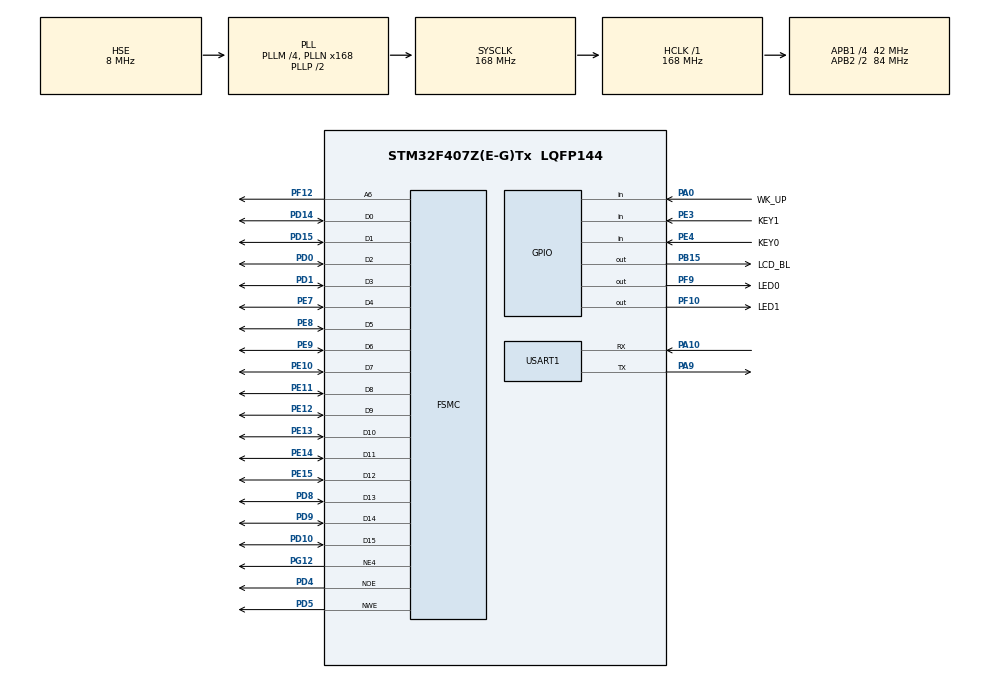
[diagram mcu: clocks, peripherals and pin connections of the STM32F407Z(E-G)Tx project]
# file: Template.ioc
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Mcu.Family=STM32F4
Mcu.Name=STM32F407Z(E-G)Tx
Mcu.Package=LQFP144
NVIC.PriorityGroup=NVIC_PRIORITYGROUP_4
NVIC.USART1_IRQn=true\:1\:0\:true\:false\:true\:true\:false\:true
PA0-WKUP.GPIO_Label=WK_UP
PA0-WKUP.GPIO_PuPd=GPIO_PULLDOWN
PA0-WKUP.Signal=GPIO_Input
PA10.Mode=Asynchronous
PA10.Signal=USART1_RX
PA13.Mode=Serial_Wire
PA13.Signal=SYS_JTMS-SWDIO
PA14.Mode=Serial_Wire
PA14.Signal=SYS_JTCK-SWCLK
PA9.Mode=Asynchronous
PA9.Signal=USART1_TX
PB15.GPIO_Label=LCD_BL
PB15.Signal=GPIO_Output
PD0.Signal=FSMC_D2_DA2
PD1.Signal=FSMC_D3_DA3
PD10.Signal=FSMC_D15_DA15
PD14.Signal=FSMC_D0_DA0
PD15.Signal=FSMC_D1_DA1
PD4.Signal=FSMC_NOE
PD5.Signal=FSMC_NWE
PD8.Signal=FSMC_D13_DA13
PD9.Signal=FSMC_D14_DA14
PE10.Signal=FSMC_D7_DA7
PE11.Signal=FSMC_D8_DA8
PE12.Signal=FSMC_D9_DA9
PE13.Signal=FSMC_D10_DA10
PE14.Signal=FSMC_D11_DA11
PE15.Signal=FSMC_D12_DA12
PE3.GPIO_Label=KEY1
PE3.GPIO_PuPd=GPIO_PULLUP
PE3.Signal=GPIO_Input
PE4.GPIO_Label=KEY0
PE4.GPIO_PuPd=GPIO_PULLUP
PE4.Signal=GPIO_Input
PE7.Signal=FSMC_D4_DA4
PE8.Signal=FSMC_D5_DA5
PE9.Signal=FSMC_D6_DA6
PF10.GPIO_Label=LED1
PF10.GPIO_PuPd=GPIO_NOPULL
PF10.PinState=GPIO_PIN_SET
PF10.Signal=GPIO_Output
PF12.Signal=FSMC_A6
PF9.GPIO_Label=LED0
PF9.GPIO_PuPd=GPIO_NOPULL
PF9.PinState=GPIO_PIN_SET
PF9.Signal=GPIO_Output
PG12.Mode=NorPsramChipSelect4_1
PG12.Signal=FSMC_NE4
PH0-OSC_IN.Mode=HSE-External-Oscillator
PH0-OSC_IN.Signal=RCC_OSC_IN
PH1-OSC_OUT.Mode=HSE-External-Oscillator
PH1-OSC_OUT.Signal=RCC_OSC_OUT
ProjectManager.HeapSize=0x200
ProjectManager.StackSize=0x400
ProjectManager.TargetToolchain=MDK-ARM V5.32
RCC.48MHZClocksFreq_Value=84000000
RCC.AHBFreq_Value=168000000
RCC.APB1CLKDivider=RCC_HCLK_DIV4
RCC.APB1Freq_Value=42000000
RCC.APB1TimFreq_Value=84000000
RCC.APB2CLKDivider=RCC_HCLK_DIV2
RCC.APB2Freq_Value=84000000
RCC.APB2TimFreq_Value=168000000
RCC.CortexFreq_Value=168000000
RCC.HCLKFreq_Value=168000000
RCC.HSE_VALUE=8000000
RCC.HSI_VALUE=16000000
RCC.LSE_VALUE=32768
RCC.PLLM=4
RCC.PLLN=168
RCC.PLLSourceVirtual=RCC_PLLSOURCE_HSE
RCC.SYSCLKFreq_VALUE=168000000
RCC.SYSCLKSource=RCC_SYSCLKSOURCE_PLLCLK
RCC.VCOOutputFreq_Value=336000000
SH.FSMC_A6.0=FSMC_A6,A6_1
SH.FSMC_D0_DA0.0=FSMC_D0,16b-d1
SH.FSMC_D10_DA10.0=FSMC_D10,16b-d1
SH.FSMC_D11_DA11.0=FSMC_D11,16b-d1
SH.FSMC_D12_DA12.0=FSMC_D12,16b-d1
SH.FSMC_D13_DA13.0=FSMC_D13,16b-d1
SH.FSMC_D14_DA14.0=FSMC_D14,16b-d1
SH.FSMC_D15_DA15.0=FSMC_D15,16b-d1
SH.FSMC_D1_DA1.0=FSMC_D1,16b-d1
SH.FSMC_D2_DA2.0=FSMC_D2,16b-d1
SH.FSMC_D3_DA3.0=FSMC_D3,16b-d1
SH.FSMC_D4_DA4.0=FSMC_D4,16b-d1
SH.FSMC_D5_DA5.0=FSMC_D5,16b-d1
SH.FSMC_D6_DA6.0=FSMC_D6,16b-d1
SH.FSMC_D7_DA7.0=FSMC_D7,16b-d1
SH.FSMC_D8_DA8.0=FSMC_D8,16b-d1
SH.FSMC_D9_DA9.0=FSMC_D9,16b-d1
SH.FSMC_NOE.0=FSMC_NOE,Lcd1
SH.FSMC_NWE.0=FSMC_NWE,Lcd1
USART1.VirtualMode=VM_ASYNC
board=custom

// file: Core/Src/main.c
/* USER CODE BEGIN Header */
/**
  ******************************************************************************
  * @file           : main.c
  * @brief          : Main program body
  ******************************************************************************
  * @attention
  *
  * Copyright (c) 2025 STMicroelectronics.
  * All rights reserved.
  *
  * This software is licensed under terms that can be found in the LICENSE file
  * in the root directory of this software component.
  * If no LICENSE file comes with this software, it is provided AS-IS.
  *
  ******************************************************************************
  */
/* USER CODE END Header */
#include "main.h"

/* USER CODE BEGIN Includes */
#include "drv_LCD.h"
#include "bsp_key.h"
#include "bsp_uart.h"
#include "iap.h"
/* USER CODE END Includes */

UART_HandleTypeDef huart1;

SRAM_HandleTypeDef hsram1;

void SystemClock_Config(void);
static void MX_GPIO_Init(void);
static void MX_FSMC_Init(void);
static void MX_USART1_UART_Init(void);

int main(void)
{

  /* USER CODE BEGIN 1 */
	uint8_t t;
	uint8_t clearflag=0;
	uint8_t key;
	uint16_t oldcount=0;				    //老的串口接收数据值
	uint32_t applenth=0;				    //接收到的app代码长度
  /* USER CODE END 1 */

  /* MCU Configuration--------------------------------------------------------*/

  /* Reset of all peripherals, Initializes the Flash interface and the Systick. */
  HAL_Init();

  /* Configure the system clock */
  SystemClock_Config();

  /* Initialize all configured peripherals */
  MX_GPIO_Init();
  MX_FSMC_Init();
  MX_USART1_UART_Init();
  /* USER CODE BEGIN 2 */
	bsp_systick_init(168);
	bsp_uart1_init();
	drv_LCD_Init();
	LCD_Clear(WHITE);
	POINT_COLOR=RED;//设置字体为红色
	LCD_ShowString(30,50,200,16,16,"Explorer STM32F4");
	LCD_ShowString(30,70,200,16,16,"IAP TEST");
	LCD_ShowString(30,90,200,16,16,"ATOM@ALIENTEK");
	LCD_ShowString(30,110,200,16,16,"2017/5/8");
	LCD_ShowString(30,130,200,16,16,"KEY_UP:Copy APP2FLASH");
	LCD_ShowString(30,150,200,16,16,"KEY1:Erase SRAM APP");
	LCD_ShowString(30,170,200,16,16,"KEY0:Run SRAM APP");
	LCD_ShowString(30,190,200,16,16,"KEY2:Run FLASH APP");
	POINT_COLOR=BLUE;//设置字体为蓝色
  /* USER CODE END 2 */

  /* Infinite loop */
  /* USER CODE BEGIN WHILE */
  while (1)
  {
		if(USART_RX_CNT){
			if(oldcount==USART_RX_CNT)//新周期内,没有收到任何数据,认为本次数据接收完成.
			{
				applenth=USART_RX_CNT;
				oldcount=0;
				USART_RX_CNT=0;
				printf("用户程序接收完成!\r\n");
				printf("代码长度:%dBytes\r\n",applenth);
			}else oldcount=USART_RX_CNT;
		}
		t++;
		delay_ms(10);
		if(t==30){
			LED1(2);
			t=0;
			if(clearflag)
			{
				clearflag--;
				if(clearflag==0)LCD_Fill(30,210,240,210+16,WHITE);//清除显示
			}
		}
		key=Key_Scan(0);
		if(key==WKUP_PRES)	//WK_UP按键按下
		{
			if(applenth)
			{
				printf("开始更新固件...\r\n");
				LCD_ShowString(30,210,200,16,16,"Copying APP2FLASH...");
				if(((*(vu32*)(0X20001000+4))&0xFF000000)==0x08000000)//判断串口接受缓存区是否为0X08XXXXXX.
				{
					iap_write_appbin(FLASH_APP1_ADDR,USART_RX_BUF,applenth);//更新FLASH代码，将串口缓存处的代码复制到FLASH处
					LCD_ShowString(30,210,200,16,16,"Copy APP Successed!!");
					printf("固件更新完成!\r\n");
				}else
				{
					LCD_ShowString(30,210,200,16,16,"Illegal FLASH APP!  ");
					printf("非FLASH应用程序!\r\n");
				}
			}else
			{
				printf("没有可以更新的固件!\r\n");
				LCD_ShowString(30,210,200,16,16,"No APP!");
			}
			clearflag=7;//标志更新了显示,并且设置7*300ms后清除显示
		}
		if(key==KEY0_PRES)	//KEY1按下
		{
			if(applenth)
			{
				printf("固件清除完成!\r\n");
				LCD_ShowString(30,210,200,16,16,"APP Erase Successed!");
				applenth=0;
			}else
			{
				printf("没有可以清除的固件!\r\n");
				LCD_ShowString(30,210,200,16,16,"No APP Clear!");
			}
			clearflag=7;//标志更新了显示,并且设置7*300ms后清除显示
		}
		if(key==KEY1_PRES)	//KEY2按下
		{
			printf("开始执行FLASH用户代码!!\r\n");
			if(((*(vu32*)(FLASH_APP1_ADDR+4))&0xFF000000)==0x08000000)//判断是否为0X08XXXXXX.
			{
				iap_load_app(FLASH_APP1_ADDR);//执行FLASH APP代码
			}else
			{
				printf("非FLASH应用程序,无法执行!\r\n");
				LCD_ShowString(30,210,200,16,16,"Illegal FLASH APP!");
			}
			clearflag=7;//标志更新了显示,并且设置7*300ms后清除显示
		}
    /* USER CODE END WHILE */

  }
}

void SystemClock_Config(void)
{
  RCC_OscInitTypeDef RCC_OscInitStruct = {0};
  RCC_ClkInitTypeDef RCC_ClkInitStruct = {0};

  /** Configure the main internal regulator output voltage
  */
  __HAL_RCC_PWR_CLK_ENABLE();
  __HAL_PWR_VOLTAGESCALING_CONFIG(PWR_REGULATOR_VOLTAGE_SCALE1);

  /** Initializes the RCC Oscillators according to the specified parameters
  * in the RCC_OscInitTypeDef structure.
  */
  RCC_OscInitStruct.OscillatorType = RCC_OSCILLATORTYPE_HSE;
  RCC_OscInitStruct.HSEState = RCC_HSE_ON;
  RCC_OscInitStruct.PLL.PLLState = RCC_PLL_ON;
  RCC_OscInitStruct.PLL.PLLSource = RCC_PLLSOURCE_HSE;
  RCC_OscInitStruct.PLL.PLLM = 4;
  RCC_OscInitStruct.PLL.PLLN = 168;
  RCC_OscInitStruct.PLL.PLLP = RCC_PLLP_DIV2;
  RCC_OscInitStruct.PLL.PLLQ = 4;
  if (HAL_RCC_OscConfig(&RCC_OscInitStruct) != HAL_OK)
  {
    Error_Handler();
  }

  /** Initializes the CPU, AHB and APB buses clocks
  */
  RCC_ClkInitStruct.ClockType = RCC_CLOCKTYPE_HCLK|RCC_CLOCKTYPE_SYSCLK
                              |RCC_CLOCKTYPE_PCLK1|RCC_CLOCKTYPE_PCLK2;
  RCC_ClkInitStruct.SYSCLKSource = RCC_SYSCLKSOURCE_PLLCLK;
  RCC_ClkInitStruct.AHBCLKDivider = RCC_SYSCLK_DIV1;
  RCC_ClkInitStruct.APB1CLKDivider = RCC_HCLK_DIV4;
  RCC_ClkInitStruct.APB2CLKDivider = RCC_HCLK_DIV2;

  if (HAL_RCC_ClockConfig(&RCC_ClkInitStruct, FLASH_LATENCY_5) != HAL_OK)
  {
    Error_Handler();
  }
}

static void MX_USART1_UART_Init(void)
{

  huart1.Instance = USART1;
  huart1.Init.BaudRate = 115200;
  huart1.Init.WordLength = UART_WORDLENGTH_8B;
  huart1.Init.StopBits = UART_STOPBITS_1;
  huart1.Init.Parity = UART_PARITY_NONE;
  huart1.Init.Mode = UART_MODE_TX_RX;
  huart1.Init.HwFlowCtl = UART_HWCONTROL_NONE;
  huart1.Init.OverSampling = UART_OVERSAMPLING_16;
  if (HAL_UART_Init(&huart1) != HAL_OK)
  {
    Error_Handler();
  }

}

static void MX_GPIO_Init(void)
{
  GPIO_InitTypeDef GPIO_InitStruct = {0};

  /* GPIO Ports Clock Enable */
  __HAL_RCC_GPIOE_CLK_ENABLE();
  __HAL_RCC_GPIOF_CLK_ENABLE();
  __HAL_RCC_GPIOH_CLK_ENABLE();
  __HAL_RCC_GPIOA_CLK_ENABLE();
  __HAL_RCC_GPIOB_CLK_ENABLE();
  __HAL_RCC_GPIOD_CLK_ENABLE();
  __HAL_RCC_GPIOG_CLK_ENABLE();

  /*Configure GPIO pin Output Level */
  HAL_GPIO_WritePin(GPIOF, LED0_Pin|LED1_Pin, GPIO_PIN_SET);

  /*Configure GPIO pin Output Level */
  HAL_GPIO_WritePin(LCD_BL_GPIO_Port, LCD_BL_Pin, GPIO_PIN_RESET);

  /*Configure GPIO pins : KEY1_Pin KEY0_Pin */
  GPIO_InitStruct.Pin = KEY1_Pin|KEY0_Pin;
  GPIO_InitStruct.Mode = GPIO_MODE_INPUT;
  GPIO_InitStruct.Pull = GPIO_PULLUP;
  HAL_GPIO_Init(GPIOE, &GPIO_InitStruct);

  /*Configure GPIO pins : LED0_Pin LED1_Pin */
  GPIO_InitStruct.Pin = LED0_Pin|LED1_Pin;
  GPIO_InitStruct.Mode = GPIO_MODE_OUTPUT_PP;
  GPIO_InitStruct.Pull = GPIO_NOPULL;
  GPIO_InitStruct.Speed = GPIO_SPEED_FREQ_LOW;
  HAL_GPIO_Init(GPIOF, &GPIO_InitStruct);

  /*Configure GPIO pin : WK_UP_Pin */
  GPIO_InitStruct.Pin = WK_UP_Pin;
  GPIO_InitStruct.Mode = GPIO_MODE_INPUT;
  GPIO_InitStruct.Pull = GPIO_PULLDOWN;
  HAL_GPIO_Init(WK_UP_GPIO_Port, &GPIO_InitStruct);

  /*Configure GPIO pin : LCD_BL_Pin */
  GPIO_InitStruct.Pin = LCD_BL_Pin;
  GPIO_InitStruct.Mode = GPIO_MODE_OUTPUT_PP;
  GPIO_InitStruct.Pull = GPIO_NOPULL;
  GPIO_InitStruct.Speed = GPIO_SPEED_FREQ_LOW;
  HAL_GPIO_Init(LCD_BL_GPIO_Port, &GPIO_InitStruct);

}

/* FSMC initialization function */
static void MX_FSMC_Init(void)
{

  FSMC_NORSRAM_TimingTypeDef Timing = {0};

  /** Perform the SRAM1 memory initialization sequence
  */
  hsram1.Instance = FSMC_NORSRAM_DEVICE;
  hsram1.Extended = FSMC_NORSRAM_EXTENDED_DEVICE;
  /* hsram1.Init */
  hsram1.Init.NSBank = FSMC_NORSRAM_BANK4;
  hsram1.Init.DataAddressMux = FSMC_DATA_ADDRESS_MUX_DISABLE;
  hsram1.Init.MemoryType = FSMC_MEMORY_TYPE_SRAM;
  hsram1.Init.MemoryDataWidth = FSMC_NORSRAM_MEM_BUS_WIDTH_16;
  hsram1.Init.BurstAccessMode = FSMC_BURST_ACCESS_MODE_DISABLE;
  hsram1.Init.WaitSignalPolarity = FSMC_WAIT_SIGNAL_POLARITY_LOW;
  hsram1.Init.WrapMode = FSMC_WRAP_MODE_DISABLE;
  hsram1.Init.WaitSignalActive = FSMC_WAIT_TIMING_BEFORE_WS;
  hsram1.Init.WriteOperation = FSMC_WRITE_OPERATION_ENABLE;
  hsram1.Init.WaitSignal = FSMC_WAIT_SIGNAL_DISABLE;
  hsram1.Init.ExtendedMode = FSMC_EXTENDED_MODE_DISABLE;
  hsram1.Init.AsynchronousWait = FSMC_ASYNCHRONOUS_WAIT_DISABLE;
  hsram1.Init.WriteBurst = FSMC_WRITE_BURST_DISABLE;
  hsram1.Init.PageSize = FSMC_PAGE_SIZE_NONE;
  /* Timing */
  Timing.AddressSetupTime = 15;
  Timing.AddressHoldTime = 15;
  Timing.DataSetupTime = 255;
  Timing.BusTurnAroundDuration = 15;
  Timing.CLKDivision = 16;
  Timing.DataLatency = 17;
  Timing.AccessMode = FSMC_ACCESS_MODE_A;
  /* ExtTiming */

  if (HAL_SRAM_Init(&hsram1, &Timing, NULL) != HAL_OK)
  {
    Error_Handler( );
  }

}

void Error_Handler(void)
{
  __disable_irq();
  while (1)
  {
  }
}
